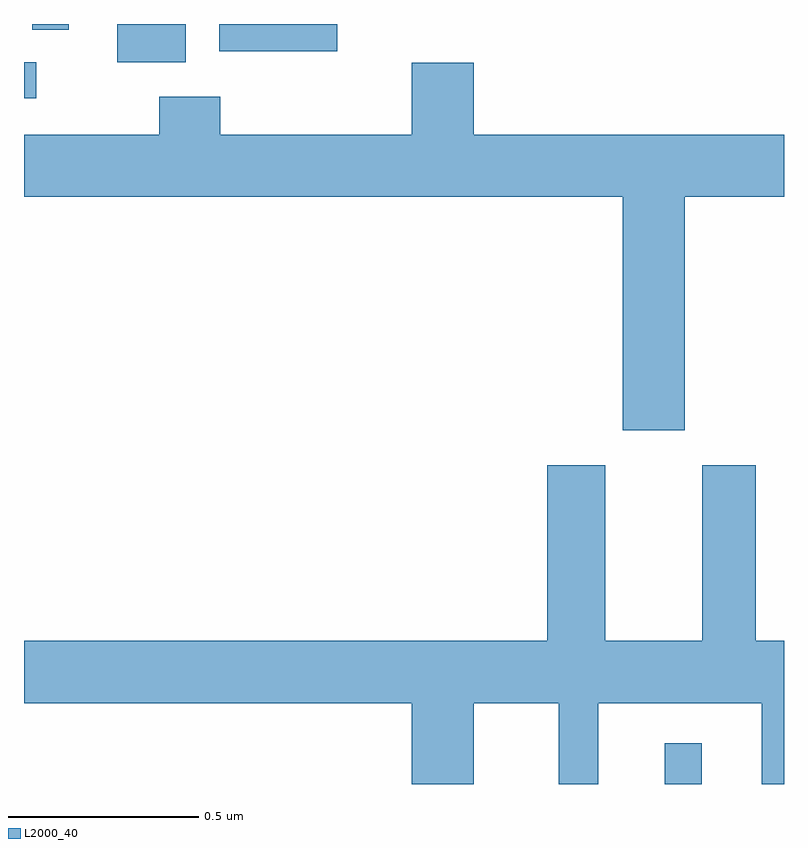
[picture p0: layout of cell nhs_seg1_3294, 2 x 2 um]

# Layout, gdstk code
import gdstk
lib = gdstk.Library(unit=1e-6, precision=1e-09)
def R(c, l, rs):  # rectangles x0, y0, x1, y1
    for r in rs: c.add(gdstk.rectangle(r[:2], r[2:], *l))
def P(c, l, *ps):  # polygons
    for p in ps: c.add(gdstk.Polygon(p, *l))
L2000_40 = (2000, 40)

nhs_seg1_3294 = lib.new_cell('nhs_seg1_3294')
R(nhs_seg1_3294, L2000_40, [(153.686,538.199,153.784,538.306), (152,540.003,152.032,540.099), (152.246,540.098,152.425,540.199), (152.514,540.127,152.824,540.199), (152.022,540.184,152.118,540.199)])
P(nhs_seg1_3294, L2000_40, [(153.739,539.744),(154,539.744),(154,539.908),(153.184,539.908),(153.184,540.097),(153.02,540.097),(153.02,539.908),(152.516,539.908),(152.516,540.007),(152.356,540.007),(152.356,539.908),(152,539.908),(152,539.744),(153.575,539.744),(153.575,539.13),(153.739,539.13)],
  [(153.184,538.412),(153.407,538.412),(153.407,538.199),(153.511,538.199),(153.511,538.412),(153.941,538.412),(153.941,538.199),(154,538.199),(154,538.576),(153.925,538.576),(153.925,539.038),(153.785,539.038),(153.785,538.576),(153.529,538.576),(153.529,539.038),(153.377,539.038),(153.377,538.576),(152,538.576),(152,538.412),(153.02,538.412),(153.02,538.199),(153.184,538.199)])

lib.write_gds('nhs_seg1_3294.gds')
